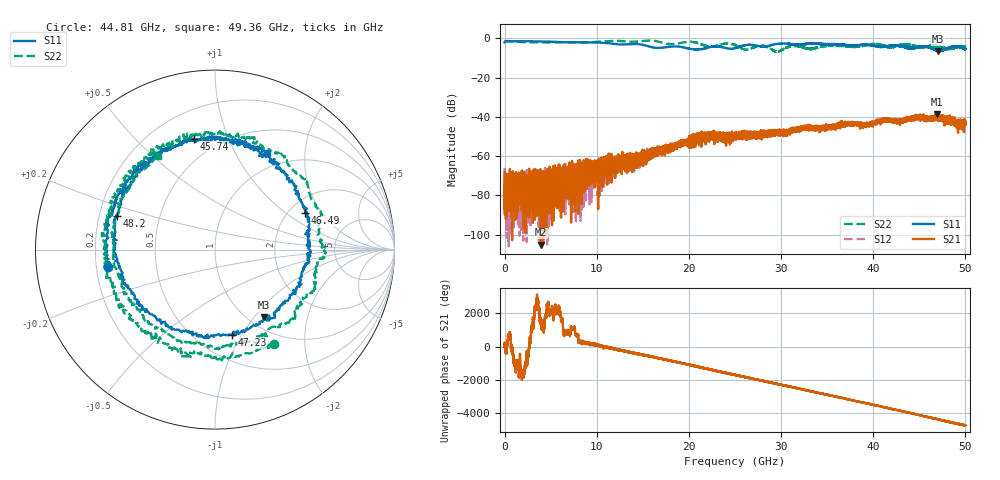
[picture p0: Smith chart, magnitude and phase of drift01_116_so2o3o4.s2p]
!Created with skrf (http://scikit-rf.org).
# Hz S RI R 50.0
!freq ReS11 ImS11 ReS21 ImS21 ReS12 ImS12 ReS22 ImS22
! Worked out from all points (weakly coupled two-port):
!   10001 points, 300 kHz to 50 GHz, reference 50 ohm
!   highest |S21| = -38.67 dB at 46.92 GHz (marker M1); lowest = -105.2 dB at 3.935 GHz (marker M2)
!   lowest |S11| = -6.6 dB at 47.07 GHz (marker M3), VSWR 2.74, Z = 58.3 - j56.1 ohm
!   |S11| at or under -10 dB: nowhere
!   |S22| runs from -6.8 to -1.0 dB; largest |S21 - S12| = 0.0041
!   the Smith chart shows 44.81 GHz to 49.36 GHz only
!   S11 on the Smith chart (normalised r, x): 44.81 GHz: 0.25, -0.08; 45.74 GHz: 0.37, +0.76; 46.49 GHz: 2.45, +1.41; 47.23 GHz: 0.73, -0.91; 48.2 GHz: 0.28, +0.16; 49.36 GHz: 0.79, +1.36
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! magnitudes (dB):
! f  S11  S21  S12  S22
! 300 kHz  -2.1  -68.2  -66.0  -1.3
! 255.3 MHz  -1.4  -79.7  -72.8  -1.4
! 3.935 GHz  -1.6  -105.2  -69.6  -2.1
! 8.335 GHz  -1.9  -67.7  -67.5  -2.1
! 16.67 GHz  -4.8  -56.7  -56.3  -1.6
! 21 GHz  -5.6  -51.5  -49.1  -2.4
! 25 GHz  -5.0  -50.0  -49.4  -3.4
! 26.18 GHz  -3.4  -51.3  -48.5  -5.7
! 28.09 GHz  -4.2  -47.1  -48.1  -3.7
! 29.53 GHz  -2.8  -47.4  -48.2  -6.8
! 31.29 GHz  -3.1  -46.8  -48.0  -4.0
! 33.34 GHz  -2.6  -45.3  -46.1  -5.4
! 41.67 GHz  -3.8  -41.1  -41.7  -4.5
! 44.81 GHz  -4.4  -40.3  -40.0  -4.1
! 45.74 GHz  -4.0  -40.9  -40.4  -4.3
! 46.49 GHz  -5.3  -39.9  -40.8  -3.8
! 46.92 GHz  -6.1  -38.7  -40.0  -4.0
! 47.07 GHz  -6.6  -40.2  -40.5  -4.2
! 47.23 GHz  -6.3  -39.6  -40.6  -4.2
! 48.2 GHz  -4.8  -42.1  -42.6  -5.4
! 49.36 GHz  -4.3  -44.9  -42.4  -4.3
! 50 GHz  -5.5  -44.0  -42.8  -4.2
